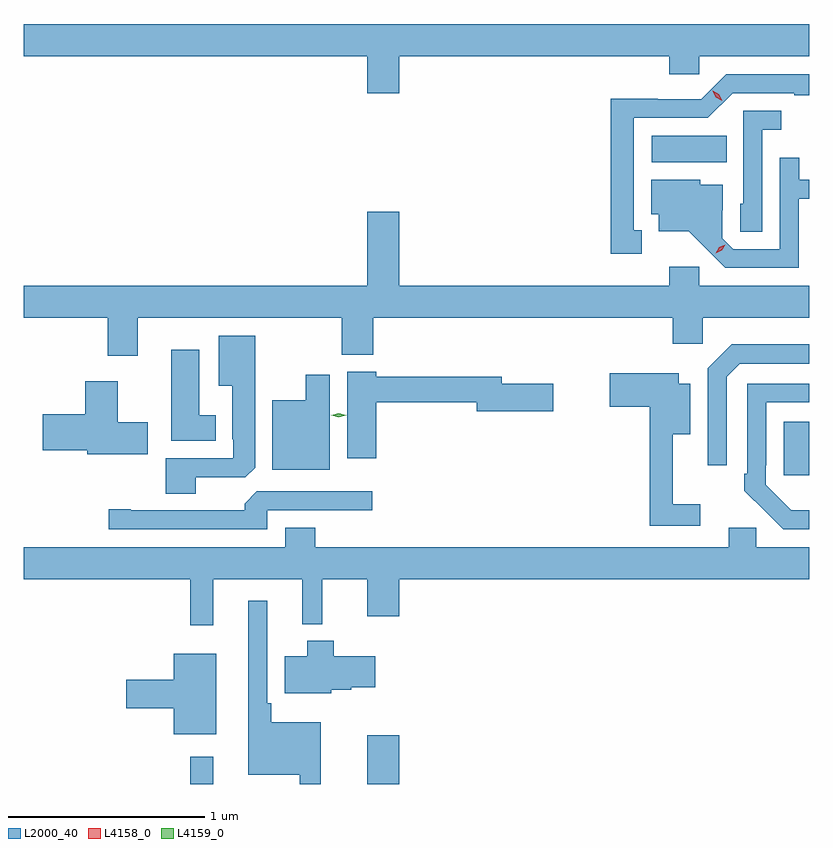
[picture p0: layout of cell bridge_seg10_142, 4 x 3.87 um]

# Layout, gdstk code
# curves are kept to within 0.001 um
import gdstk
lib = gdstk.Library(unit=1e-6, precision=1e-09)
def R(c, l, rs):  # rectangles x0, y0, x1, y1
    for r in rs: c.add(gdstk.rectangle(r[:2], r[2:], *l))
def P(c, l, *ps):  # polygons
    for p in ps: c.add(gdstk.Polygon(p, *l))
L2000_40 = (2000, 40)
L4158_0 = (4158, 0)
L4159_0 = (4159, 0)

bridge_seg10_142 = lib.new_cell('bridge_seg10_142')
R(bridge_seg10_142, L2000_40, [(331.939,1279.294,332.056,1279.432), (332.84,1279.294,333.004,1279.543), (334.961,1280.865,335.091,1281.139), (334.29,1282.46,334.67,1282.594)])
P(bridge_seg10_142, L2000_40, [(333.004,1283),(334.379,1283),(334.379,1282.907),(334.53,1282.907),(334.53,1283),(335.091,1283),(335.091,1283.164),(331.091,1283.164),(331.091,1283),(332.84,1283),(332.84,1282.812),(333.004,1282.812)],
  [(334.237,1282.113),(334.198,1282.113),(334.198,1282.686),(334.575,1282.686),(334.701,1282.812),(335.015,1282.812),(335.015,1282.8),(335.091,1282.8),(335.091,1282.908),(334.668,1282.908),(334.542,1282.782),(334.32,1282.782),(334.32,1282.784),(334.08,1282.784),(334.08,1281.993),(334.237,1281.993)],
  [(334.851,1282.625),(334.948,1282.625),(334.948,1282.722),(334.755,1282.722),(334.755,1282.248),(334.74,1282.248),(334.74,1282.105),(334.851,1282.105)],
  [(335.037,1282.275),(335.091,1282.275),(335.091,1282.371),(335.039,1282.371),(335.039,1282.484),(334.941,1282.484),(334.941,1282.017),(334.704,1282.017),(334.647,1282.074),(334.647,1282.216),(334.651,1282.216),(334.651,1282.345),(334.536,1282.345),(334.536,1282.372),(334.286,1282.372),(334.286,1282.196),(334.325,1282.196),(334.325,1282.109),(334.477,1282.109),(334.664,1281.924),(335.037,1281.924)],
  [(331.672,1281.668),(332.71,1281.668),(332.71,1281.479),(332.87,1281.479),(332.87,1281.668),(334.397,1281.668),(334.397,1281.537),(334.548,1281.537),(334.548,1281.668),(335.091,1281.668),(335.091,1281.832),(334.53,1281.832),(334.53,1281.928),(334.379,1281.928),(334.379,1281.832),(333.004,1281.832),(333.004,1282.207),(332.84,1282.207),(332.84,1281.832),(331.091,1281.832),(331.091,1281.668),(331.52,1281.668),(331.52,1281.474),(331.672,1281.474)],
  [(331.966,1280.856),(332.22,1280.856),(332.269,1280.905),(332.269,1281.577),(332.084,1281.577),(332.084,1281.323),(332.153,1281.323),(332.153,1281.049),(332.157,1281.049),(332.157,1280.952),(331.814,1280.952),(331.814,1280.773),(331.966,1280.773)],
  [(334.671,1281.369),(334.737,1281.435),(335.091,1281.435),(335.091,1281.532),(334.696,1281.532),(334.575,1281.411),(334.575,1280.916),(334.671,1280.916)],
  [(332.068,1281.172),(331.984,1281.172),(331.984,1281.505),(331.841,1281.505),(331.841,1281.041),(332.068,1281.041)],
  [(332.885,1281.238),(333.398,1281.238),(333.398,1281.191),(333.787,1281.191),(333.787,1281.333),(333.526,1281.333),(333.526,1281.367),(332.885,1281.367),(332.885,1281.394),(332.738,1281.394),(332.738,1280.952),(332.885,1280.952)],
  [(334.537,1280.719),(334.397,1280.719),(334.397,1281.074),(334.486,1281.074),(334.486,1281.331),(334.426,1281.331),(334.426,1281.385),(334.074,1281.385),(334.074,1281.215),(334.279,1281.215),(334.279,1280.61),(334.537,1280.61)],
  [(332.65,1281.379),(332.528,1281.379),(332.528,1281.247),(332.357,1281.247),(332.357,1280.894),(332.65,1280.894)],
  [(331.723,1281.135),(331.57,1281.135),(331.57,1281.346),(331.403,1281.346),(331.403,1281.176),(331.188,1281.176),(331.188,1280.993),(331.415,1280.993),(331.415,1280.972),(331.723,1280.972)],
  [(335.091,1280.689),(334.998,1280.689),(334.869,1280.817),(334.869,1280.917),(334.872,1280.917),(334.872,1281.237),(335.091,1281.237),(335.091,1281.333),(334.776,1281.333),(334.776,1280.875),(334.761,1280.875),(334.761,1280.787),(334.958,1280.592),(335.091,1280.592)],
  [(332.331,1280.688),(332.866,1280.688),(332.866,1280.784),(332.277,1280.784),(332.216,1280.722),(332.216,1280.688),(331.636,1280.688),(331.636,1280.693),(331.524,1280.693),(331.524,1280.592),(332.331,1280.592)],
  [(332.057,1280.336),(332.51,1280.336),(332.51,1280.108),(332.61,1280.108),(332.61,1280.336),(332.84,1280.336),(332.84,1280.148),(333.004,1280.148),(333.004,1280.336),(335.091,1280.336),(335.091,1280.5),(334.821,1280.5),(334.821,1280.598),(334.682,1280.598),(334.682,1280.5),(332.576,1280.5),(332.576,1280.599),(332.423,1280.599),(332.423,1280.5),(331.091,1280.5),(331.091,1280.336),(331.939,1280.336),(331.939,1280.103),(332.057,1280.103)],
  [(332.604,1279.609),(332.351,1279.609),(332.351,1279.705),(332.331,1279.705),(332.331,1280.227),(332.234,1280.227),(332.234,1279.34),(332.496,1279.34),(332.496,1279.294),(332.604,1279.294)],
  [(332.656,1279.775),(332.76,1279.775),(332.76,1279.787),(332.881,1279.787),(332.881,1279.945),(332.669,1279.945),(332.669,1280.023),(332.534,1280.023),(332.534,1279.945),(332.42,1279.945),(332.42,1279.757),(332.656,1279.757)],
  [(332.071,1279.957),(331.856,1279.957),(331.856,1279.826),(331.614,1279.826),(331.614,1279.679),(331.856,1279.679),(331.856,1279.547),(332.071,1279.547)])
P(bridge_seg10_142, L4158_0, [(334.615,1281.996),(334.615,1281.996),(334.632,1282.026),(334.663,1282.041),(334.663,1282.041),(334.663,1282.041),(334.646,1282.011),(334.616,1281.996)],
  [(334.648,1282.773),(334.616,1282.792),(334.599,1282.824),(334.599,1282.825),(334.6,1282.825),(334.631,1282.806),(334.648,1282.773),(334.648,1282.773)])
P(bridge_seg10_142, L4159_0, [(332.694,1281.161),(332.656,1281.171),(332.656,1281.171),(332.656,1281.171),(332.694,1281.181),(332.733,1281.172),(332.733,1281.172),(332.733,1281.172)])

lib.write_gds('bridge_seg10_142.gds')
